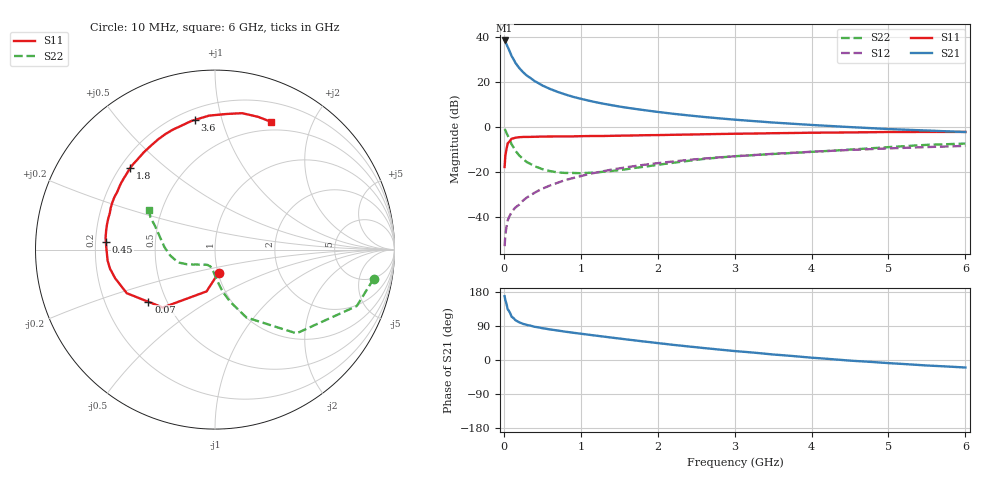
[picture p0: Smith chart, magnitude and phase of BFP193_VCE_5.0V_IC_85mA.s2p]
! Infineon Technologies  Discrete & RF Semiconductors
! BFP193
! VCE =  5.0 V,  IC =  85 mA
! Common Emitter S-Parameters:  Jan 2017
# GHz  S  MA  R  50
!  f  S11  S21  S12  S22
! GHz  MAG  ANG  MAG  ANG  MAG  ANG  MAG  ANG
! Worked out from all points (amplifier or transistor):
!   77 points, 10 MHz to 6 GHz, reference 50 ohm
!   highest |S21| = 38.3 dB at 10 MHz (marker M1)
!   |S21| within 3 dB of that: start of sweep to 51.94 MHz
!   unconditionally stable (mu >= 1): 380.3 MHz to 2.414 GHz
!   at 130 MHz: K = 0.74, MSG = 33.1 dB, |S12| = -36.4 dB
!   at 2.2 GHz: K = 1.01, MAG = 9.9 dB, |S12| = -15.3 dB
!   at 6 GHz: K = 0.93, MSG = 3.1 dB, |S12| = -8.4 dB
!   S11 on the Smith chart (normalised r, x): 10 MHz: 1.01, -0.26; 70 MHz: 0.40, -0.30; 450 MHz: 0.24, +0.03; 1.8 GHz: 0.24, +0.38; 3.6 GHz: 0.26, +0.82; 6 GHz: 0.40, +1.46
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0.01  0.1299 -80.8  82.27 168.4  0.0023 79.1  0.8991 -10.4
0.02  0.2375 -101.4  78.66 157.9  0.0041 79.6  0.8501 -21.7
0.05  0.4344 -132.0  59.19 133.9  0.0085 63.6  0.6511 -45.8
0.07  0.4714 -141.9  49.84 128.2  0.0103 62.4  0.5505 -51.6
0.1  0.5483 -153.7  37.34 114.4  0.0129 61.3  0.4163 -65.2
0.15  0.5786 -163.9  26.34 105.1  0.0165 63.6  0.2982 -74.2
0.2  0.5948 -169.8  20.19 99.5  0.0191 65.8  0.2345 -79.9
0.25  0.6013 -174.1  16.32 95.3  0.0236 67.9  0.1948 -83.5
0.3  0.6024 -177.2  13.67 92.5  0.0275 68.9  0.1668 -86.7
0.4  0.607 177.9  10.36 87.7  0.035 70.8  0.1351 -91.5
0.45  0.6097 175.8  9.331 86.1  0.039 71.0  0.1259 -93.6
0.6  0.6156 170.2  6.961 80.7  0.0507 71.6  0.1058 -100.6
0.7  0.6177 167.1  5.975 77.8  0.0583 71.7  0.0985 -104.1
0.9  0.6203 160.9  4.655 72.0  0.074 70.2  0.096 -111.5
1.1  0.6297 155.3  3.838 66.8  0.0902 68.0  0.0965 -118.3
1.8  0.6558 136.3  2.393 49.3  0.1438 60.1  0.1304 -140.5
2.1  0.666 128.7  2.057 42.4  0.1652 56.0  0.1532 -147.5
3.1  0.7109 107.6  1.41 22.0  0.2304 43.0  0.2301 -165.9
3.6  0.7311 98.8  1.224 13.0  0.2598 37.2  0.2577 -174.9
4.1  0.7482 91.1  1.085 4.7  0.288 31.1  0.2877 175.0
5.1  0.7747 77.4  0.886 -9.4  0.3404 19.3  0.3665 157.5
6  0.7775 66.2  0.773 -19.8  0.3815 9.0  0.4293 149.0
